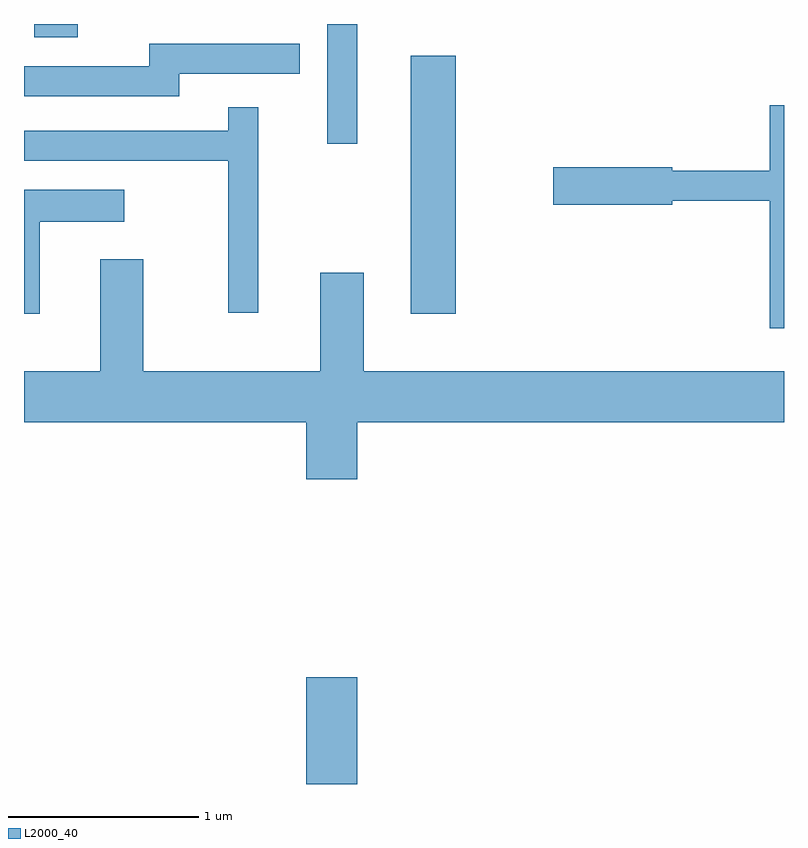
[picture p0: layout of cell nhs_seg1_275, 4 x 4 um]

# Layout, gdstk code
import gdstk
lib = gdstk.Library(unit=1e-6, precision=1e-09)
def R(c, l, rs):  # rectangles x0, y0, x1, y1
    for r in rs: c.add(gdstk.rectangle(r[:2], r[2:], *l))
def P(c, l, *ps):  # polygons
    for p in ps: c.add(gdstk.Polygon(p, *l))
L2000_40 = (2000, 40)

nhs_seg1_275 = lib.new_cell('nhs_seg1_275')
R(nhs_seg1_275, L2000_40, [(195.096,857.712,195.364,858.274), (195.646,860.186,195.884,861.544), (195.206,861.083,195.364,861.712), (193.666,861.641,193.894,861.712)])
P(nhs_seg1_275, L2000_40, [(194.429,861.451),(195.063,861.451),(195.063,861.609),(194.271,861.609),(194.271,861.489),(193.611,861.489),(193.611,861.331),(194.429,861.331)],
  [(197.611,861.284),(197.536,861.284),(197.536,860.939),(197.024,860.939),(197.024,860.959),(196.396,860.959),(196.396,860.761),(197.024,860.761),(197.024,860.781),(197.536,860.781),(197.536,860.111),(197.611,860.111)],
  [(194.844,861.273),(194.686,861.273),(194.686,861.149),(193.611,861.149),(193.611,860.991),(194.686,860.991),(194.686,860.193),(194.844,860.193)],
  [(193.694,860.671),(194.138,860.671),(194.138,860.839),(193.611,860.839),(193.611,860.186),(193.694,860.186)],
  [(195.364,859.616),(197.611,859.616),(197.611,859.884),(195.399,859.884),(195.399,860.404),(195.171,860.404),(195.171,859.884),(194.239,859.884),(194.239,860.474),(194.011,860.474),(194.011,859.884),(193.611,859.884),(193.611,859.616),(195.096,859.616),(195.096,859.316),(195.364,859.316)])

lib.write_gds('nhs_seg1_275.gds')
